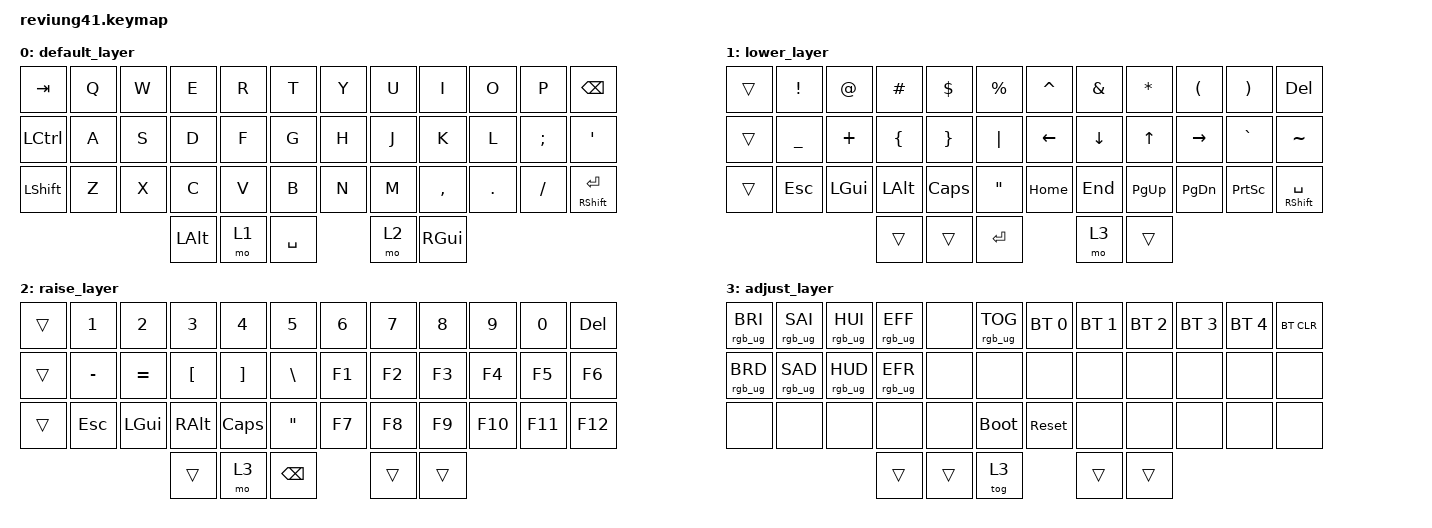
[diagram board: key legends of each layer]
/*
 * Copyright (c) 2020 The ZMK Contributors
 *
 * SPDX-License-Identifier: MIT
 */

#include <behaviors.dtsi>
#include <dt-bindings/zmk/keys.h>
#include <dt-bindings/zmk/bt.h>
#include <dt-bindings/zmk/rgb.h>
#include <dt-bindings/zmk/ext_power.h>
#include <dt-bindings/zmk/outputs.h>
#include <dt-bindings/zmk/pointing.h>

#include "helpers.h"
#include "behaviors.dtsi"

// MACROS
// I'll remove this comment later
#define ALPHA 0
#define NAV 1
#define MOUSE 2
#define NUM 3
#define FUNC 4

// COMBOS
COMBO(caps_lock, &caps_word, 16 19, 0)
COMBO(caps_word, &kp CAPSLOCK, 15 20, 0)

COMBO(escape, &kp ESC, 14 15 16, 0)
COMBO(enter, &kp ENTER, 19 20 21, 0)

COMBO(paren_l, &paren_angle_l, 15 16, 0)
COMBO(paren_r, &paren_angle_r, 19 20, 0)

COMBO(bracket_l, &kp LEFT_BRACKET, 27 28, 0)
COMBO(bracket_r, &kp RIGHT_BRACKET, 31 32, 0)

COMBO(star_percent, &star_percent, 3 16, 0)
COMBO(slash, &slash, 19 8, 0)

COMBO(minus, &kp MINUS, 14 15, 0)
COMBO(equal, &kp EQUAL, 20 21, 0)

COMBO(pipe, &kp PIPE, 3 4, 0)
COMBO(hash, &kp HASH, 7 8, 0)

COMBO(ampersand, &kp AMPERSAND, 2 3, 0)
COMBO(dollar, &kp DOLLAR, 8 9, 0)

COMBO(grave_tilde, &kp GRAVE, 26 27, 0)

/ {
        keymap {
                compatible = "zmk,keymap";

                default_layer {
// -------------------------------------------------------------------------------------
// |  TAB |  Q  |  W  |  E  |  R  |  T  |   |  Y  |  U   |  I  |  O  |  P  |   BSPC    |
// | CTRL |  A  |  S  |  D  |  F  |  G  |   |  H  |  J   |  K  |  L  |  ;  |    '      |
// | SHFT |  Z  |  X  |  C  |  V  |  B  |   |  N  |  M   |  ,  |  .  |  /  | SHFT(RET) |
//                         | ALT | LWR | SPC | RSE  | ALT |
                        bindings = <
   &kp TAB   &kp Q &kp W &kp E &kp R &kp T   &kp Y &kp U  &kp I     &kp O   &kp P    &kp BSPC
   &kp LCTRL &kp A &kp S &kp D &kp F &kp G   &kp H &kp J  &kp K     &kp L   &kp SEMI &kp SQT
   &kp LSHFT &kp Z &kp X &kp C &kp V &kp B   &kp N &kp M  &kp COMMA &kp DOT &kp FSLH &mt RSHFT RET
                        &kp LALT  &mo 1 &kp SPACE &mo 2  &kp RGUI
                        >;
                };

                lower_layer {
// ------------------------------------------------------------------------------------
// |    |  !  |  @  |  #  |  $  |  %  |   |  ^  |  &  |  *  |  (  |  )  |      DEL    |
// |    |  _  |  +  |  {  |  }  | "|" |   | LFT | DWN |  UP | RGT |  `  |       ~     |
// |    | ESC | GUI | ALT | CAPS|  "  |   | HOME| END | PGUP| PGDN| PRSC| SHFT(SPACE) |
//                       |     |     | RET | ADJ |     |
                        bindings = <
   &trans &kp EXCL  &kp AT      &kp HASH &kp DLLR &kp PRCNT      &kp CARET &kp AMPS &kp ASTRK &kp LPAR  &kp RPAR  &kp DEL
   &trans &kp UNDER &kp PLUS    &kp LBRC &kp RBRC &kp PIPE       &kp LEFT  &kp DOWN &kp UP    &kp RIGHT &kp GRAVE &kp TILDE
   &trans &kp ESC   &kp LGUI    &kp LALT &kp CLCK &kp DQT        &kp HOME  &kp END  &kp PG_UP &kp PG_DN &kp PSCRN &mt RSHFT SPACE
                                 &trans      &trans       &kp RET        &mo 3       &trans
                        >;
                };

                raise_layer {
// ----------------------------------------------------------------------------
// |    |  1  |  2  |  3  |  4  |  5  |   |  6  |  7  |  8  |  9  |  0  | DEL |
// |    |  -  |  =  |  [  |  ]  |  \  |   | F1  | F2  | F3  | F4  | F5  | F6  |
// |    | ESC | GUI | ALT | CAPS|  "  |   | F7  | F8  | F9  | F10 | F11 | F12 |
//                       |     | ADJ | BSPC |    |     |
                        bindings = <
   &trans &kp N1    &kp N2    &kp N3    &kp N4    &kp N5        &kp N6    &kp N7    &kp N8    &kp N9    &kp N0    &kp DEL
   &trans &kp MINUS &kp EQUAL &kp LBKT  &kp RBKT  &kp BSLH      &kp F1    &kp F2    &kp F3    &kp F4    &kp F5    &kp F6
   &trans &kp ESC   &kp LGUI  &kp RALT  &kp CLCK  &kp DQT       &kp F7    &kp F8    &kp F9    &kp F10   &kp F11   &kp F12
                                &trans      &mo 3       &kp BSPC        &trans      &trans
                        >;
                };

                adjust_layer {
// -----------------------------------------------------------------------------------------
// | RGB BRI+ | RGB SAT+ | RGB HUE+ | RGB ANI+ |    | RGB TOG |   |  BT1  | BT2 | BT3 | BT4 | BT5 | BT CLR |
// | RGB BRI- | RGB SAT- | RGB HUE- | RGB ANI- |    |         |   |       |     |     |     |     |        |
// |          |          |          |          |    |         |   | RESET |     |     |     |     |        |
//                                              |     |     |     |     |     |
                        bindings = <
   &rgb_ug RGB_BRI &rgb_ug RGB_SAI &rgb_ug RGB_HUI &rgb_ug RGB_EFF &none &rgb_ug RGB_TOG    &bt BT_SEL 0 &bt BT_SEL 1 &bt BT_SEL 2 &bt BT_SEL 3 &bt BT_SEL 4 &bt BT_CLR
   &rgb_ug RGB_BRD &rgb_ug RGB_SAD &rgb_ug RGB_HUD &rgb_ug RGB_EFR &none &none              &none        &none        &none        &none        &none        &none
   &none           &none           &none           &none           &none &bootloader              &sys_reset       &none        &none        &none        &none        &none
                                                             &trans      &trans       &tog 3        &trans      &trans
                        >;
                };
        };
};
